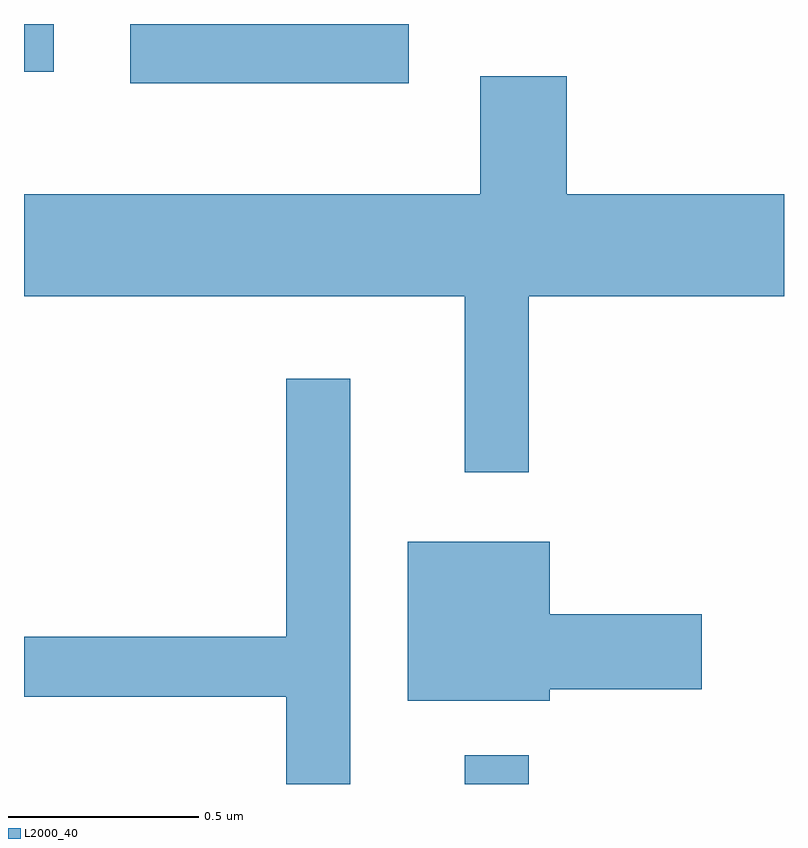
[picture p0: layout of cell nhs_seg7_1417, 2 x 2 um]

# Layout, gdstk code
import gdstk
lib = gdstk.Library(unit=1e-6, precision=1e-09)
def R(c, l, rs):  # rectangles x0, y0, x1, y1
    for r in rs: c.add(gdstk.rectangle(r[:2], r[2:], *l))
def P(c, l, *ps):  # polygons
    for p in ps: c.add(gdstk.Polygon(p, *l))
L2000_40 = (2000, 40)

nhs_seg7_1417 = lib.new_cell('nhs_seg7_1417')
R(nhs_seg7_1417, L2000_40, [(196.771,1715.252,196.939,1715.328), (195.891,1717.096,196.624,1717.252), (195.611,1717.126,195.689,1717.252)])
P(nhs_seg7_1417, L2000_40, [(196.939,1716.536),(197.611,1716.536),(197.611,1716.804),(197.039,1716.804),(197.039,1717.114),(196.811,1717.114),(196.811,1716.804),(195.611,1716.804),(195.611,1716.536),(196.771,1716.536),(196.771,1716.073),(196.939,1716.073)],
  [(196.469,1716.318),(196.301,1716.318),(196.301,1715.639),(195.611,1715.639),(195.611,1715.481),(196.301,1715.481),(196.301,1715.252),(196.469,1715.252)],
  [(196.994,1715.501),(197.394,1715.501),(197.394,1715.699),(196.994,1715.699),(196.994,1715.889),(196.621,1715.889),(196.621,1715.471),(196.994,1715.471)])

lib.write_gds('nhs_seg7_1417.gds')
